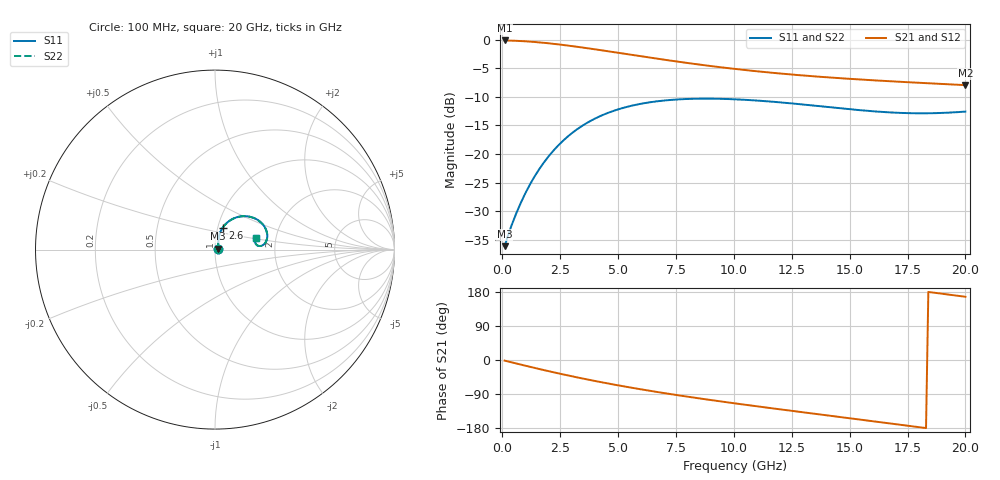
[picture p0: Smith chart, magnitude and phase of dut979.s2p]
! Touchstone file exported from HFSS 2024.1.0
!  File:  C:/UserFiles/LocalFiles/RDL_TSV_Batchsim/temp_RDL_TSV_979_1779972996.aedt
!  Generated:  09:09:51 PM May 28, 2026
!  Design:  RDL_TSV
!  Project:  temp_RDL_TSV_979_1779972996
!  Setup:  Setup1
!  Solution:  Sweep
! Variables:
!  dtsv = 6.56um
!  hbump = 3um
!  htsv = 56.14um
!  ldown = 507.92um
!  lrdl = 387.33um
!  p = 40
!  p1 = 44.38um
!  rhole = 10um
!  subl = 3073.08um
!  t = 450um
!  tdown = 4.34um
!  trdl = 4.99um
!  viad = 10um
!  wdown = 12.71um
!  wrdl = 29.76um
!  xbump = 18um
# GHz S MA R 50.000000
! Terminal data exported
! Port[1] = TM1_1_T1
! Port[2] = TM1_4_T1
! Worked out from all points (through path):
!   200 points, 100 MHz to 20 GHz, reference 50 ohm
!   highest |S21| = -0.13 dB at 100 MHz (marker M1); lowest = -7.9 dB at 20 GHz (marker M2)
!   group delay of S21, straight-line fit = 25.4 ps
!   lowest |S11| = -36.1 dB at 100 MHz (marker M3), VSWR 1.03, Z = 51.5 + j0.507 ohm
!   |S11| at or under -10 dB: start of sweep to end of sweep
!   |S22| runs from -36.1 to -10.3 dB; largest |S21 - S12| = 1.4e-14
!   S11 on the Smith chart (normalised r, x): 100 MHz: 1.03, +0.01; 2.6 GHz: 1.06, +0.26; 20 GHz: 1.57, +0.21
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0.1  0.01567 18.3  0.985 -1.6  0.985 -1.6  0.01567 18.3
! Gamma 0 0 0 0
! Port Impedance 50 0 50 0
0.3  0.02091 39.4  0.9825 -4.6  0.9825 -4.6  0.02091 39.4
0.6  0.03022 56.1  0.9777 -9.2  0.9777 -9.2  0.03022 56.0
0.9  0.04148 65.4  0.971 -13.6  0.971 -13.6  0.04147 65.3
1.2  0.0545 70.5  0.9622 -18.1  0.9622 -18.1  0.05448 70.4
1.5  0.06898 72.9  0.9515 -22.4  0.9515 -22.4  0.06894 72.9
1.9  0.09005 73.6  0.9349 -28.1  0.9349 -28.1  0.08997 73.5
2.6  0.1294 70.7  0.901 -37.6  0.901 -37.6  0.1293 70.6
3  0.1521 67.7  0.8798 -42.9  0.8798 -42.9  0.1519 67.7
3.5  0.1792 63.4  0.8524 -49.2  0.8524 -49.2  0.1789 63.3
4.2  0.2135 56.8  0.8132 -57.7  0.8132 -57.7  0.2132 56.8
5  0.246 49.3  0.7689 -66.8  0.7689 -66.8  0.2456 49.3
5.8  0.2707 42.1  0.7264 -75.4  0.7264 -75.4  0.2703 42.1
6.8  0.2913 34.0  0.6774 -85.5  0.6774 -85.5  0.2908 34.0
8.4  0.3049 23.2  0.6101 -100.4  0.6101 -100.4  0.3045 23.2
10.1  0.3009 14.4  0.5538 -114.9  0.5538 -114.9  0.3006 14.4
11.7  0.2867 8.6  0.5129 -127.9  0.5129 -127.9  0.2864 8.6
13.4  0.2662 5.2  0.4794 -141.2  0.4794 -141.2  0.266 5.2
15  0.2468 4.7  0.4549 -153.7  0.4549 -153.7  0.2467 4.6
16.7  0.2317 7.0  0.4338 -167.0  0.4338 -167.0  0.2317 7.0
18.3  0.2273 11.1  0.4169 -179.6  0.4169 -179.6  0.2273 11.1
20  0.2353 15.6  0.4008 166.9  0.4008 166.9  0.2354 15.6
